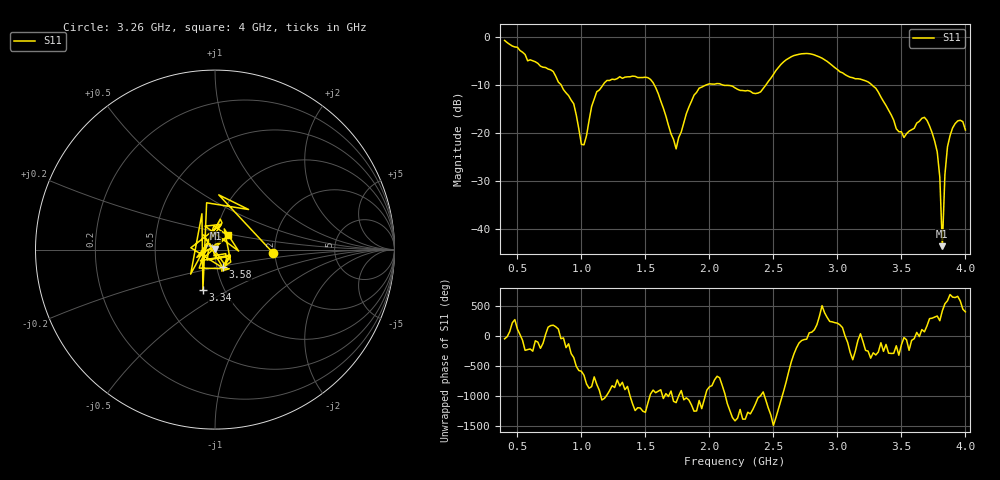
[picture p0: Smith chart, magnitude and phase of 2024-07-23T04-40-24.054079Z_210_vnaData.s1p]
!Created with skrf (http://scikit-rf.org).
# Hz S RI R 50.0
!freq ReS11 ImS11
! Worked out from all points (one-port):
!   181 points, 400 MHz to 4 GHz, reference 50 ohm
!   lowest |S11| = -43.5 dB at 3.82 GHz (marker M1), VSWR 1.01, Z = 50.3 + j0.61 ohm
!   |S11| at or under -10 dB: 1.569 GHz to 1.978 GHz (409.4 MHz wide, 23.1 % of centre); 2.099 GHz to 2.442 GHz (343.1 MHz wide, 15.1 % of centre); 3.268 GHz to end of sweep (the widest 3 of 4)
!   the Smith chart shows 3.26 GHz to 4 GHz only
!   S11 on the Smith chart (normalised r, x): 3.26 GHz: 1.95, -0.08; 3.34 GHz: 0.79, -0.38; 3.58 GHz: 1.07, -0.21; 4 GHz: 1.14, +0.18
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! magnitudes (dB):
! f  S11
! 400 MHz  -0.8
! 860 MHz  -11.0
! 940 MHz  -13.9
! 1 GHz  -22.4
! 1.02 GHz  -22.5
! 1.12 GHz  -11.4
! 1.3 GHz  -8.3
! 1.54 GHz  -8.9
! 1.74 GHz  -23.3
! 1.76 GHz  -21.0
! 1.92 GHz  -10.7
! 2.2 GHz  -10.6
! 2.4 GHz  -11.5
! 2.66 GHz  -3.9
! 3.1 GHz  -8.4
! 3.26 GHz  -9.8
! 3.34 GHz  -12.5
! 3.46 GHz  -19.1
! 3.56 GHz  -19.6
! 3.58 GHz  -19.3
! 3.68 GHz  -16.8
! 3.76 GHz  -21.7
! 3.8 GHz  -29.2
! 3.82 GHz  -43.5
! 3.84 GHz  -28.7
! 3.86 GHz  -22.9
! 3.94 GHz  -17.5
! 4 GHz  -19.4
